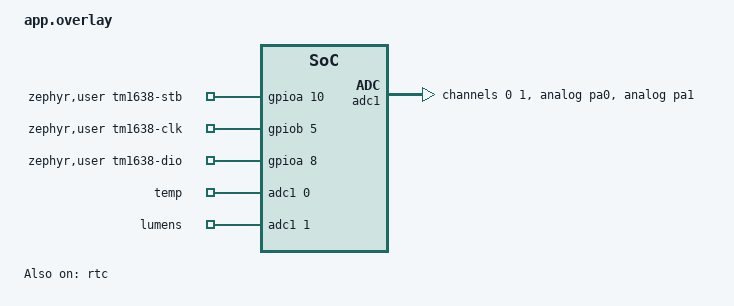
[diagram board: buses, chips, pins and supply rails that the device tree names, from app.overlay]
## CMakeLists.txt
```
# SPDX-License-Identifier: Apache-2.0

cmake_minimum_required(VERSION 3.20.0)

find_package(Zephyr REQUIRED HINTS $ENV{ZEPHYR_BASE})
project(templum1638)

target_sources(app PRIVATE
    src/main.c
    src/tm1638.c
)
target_include_directories(app PRIVATE src)
```

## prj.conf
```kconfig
# Added automatically by Workbench for Zephyr
#--- DEBUG PRESET - BEGIN ---#
# Set to -Og
CONFIG_DEBUG_OPTIMIZATIONS=y
# Thread awareness support
CONFIG_DEBUG_THREAD_INFO=y
# Generate stack usage per-function
CONFIG_STACK_USAGE=y
# Other options in case not set by default
CONFIG_BUILD_OUTPUT_HEX=y
CONFIG_BUILD_OUTPUT_META=y
CONFIG_OUTPUT_SYMBOLS=y
CONFIG_OUTPUT_STAT=y
CONFIG_OUTPUT_DISASSEMBLY=y
CONFIG_OUTPUT_PRINT_MEMORY_USAGE=y
#--- DEBUG PRESET - END ---#
CONFIG_GPIO=y
CONFIG_PRINTK=y
CONFIG_ADC=y
CONFIG_ADC_ASYNC=y
CONFIG_LOG=y
CONFIG_RTC=y
```

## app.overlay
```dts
#include <zephyr/dt-bindings/gpio/gpio.h>
#include <zephyr/dt-bindings/adc/adc.h>
/*
 * Patron "zephyr,user": forma estandar de Zephyr para pasarle GPIOs
 * sueltos a la aplicacion sin necesidad de escribir un devicetree
 * binding ni un driver formal.
 *
 * Al llamarse "app.overlay" y estar en la raiz del proyecto (no dentro
 * de boards/), Zephyr lo aplica automaticamente sin importar la placa
 * para la que compiles -- no hace falta pasar -DDTC_OVERLAY_FILE ni
 * tocar el CMakeLists.txt.
 *
 * Pines elegidos sobre el header estilo Arduino del Nucleo-F401RE
 * (libres por defecto, no pisan UART2/I2C1 que ya usa la placa):
 *   D2 -> STB   (PA10)
 *   D4 -> CLK   (PB5)
 *   D7 -> DIO   (PA8)
 * Para usar otros pines fisicos, solo hay que cambiar los numeros de
 * &arduino_header aqui abajo -- el resto del proyecto no cambia.
 */
/ {
	zephyr,user {
		tm1638-stb-gpios = <&gpioa 10 GPIO_ACTIVE_HIGH>;
		tm1638-clk-gpios = <&gpiob 5 GPIO_ACTIVE_HIGH>;
		tm1638-dio-gpios = <&gpioa 8 GPIO_ACTIVE_HIGH>;

		io-channels = <&adc1 0>, <&adc1 1>;
		io-channel-names = "temp", "lumens";
	};
};

/* DEVICETREE-MANAGER-BEGIN: generated region, do not edit inside this block */
&adc1 {
	#address-cells = <1>;
	#size-cells = <0>;
    	pinctrl-names = "default";
    	pinctrl-0 = <&analog_pa0 &analog_pa1>;
    	status = "okay";
	channel@0{
		reg = <0>;
		zephyr,gain = "ADC_GAIN_1";
		zephyr,reference = "ADC_REF_INTERNAL";
		zephyr,vref-mv = <3300>;
		zephyr,acquisition-time = <ADC_ACQ_TIME_DEFAULT>;
		zephyr,resolution = <12>;
	};
	channel@1{
		reg = <1>;
		zephyr,gain = "ADC_GAIN_1";
		zephyr,reference = "ADC_REF_INTERNAL";
		zephyr,vref-mv = <3300>;
		zephyr,acquisition-time = <ADC_ACQ_TIME_DEFAULT>;
		zephyr,resolution = <12>;
	};


};
/* DEVICETREE-MANAGER-END */
&rtc {
	status="okay";
};
```

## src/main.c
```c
/*
 * Copyright (c) 2012-2014 Wind River Systems, Inc.
 *
 * SPDX-License-Identifier: Apache-2.0
 */

#include <zephyr/kernel.h>
#include <zephyr/drivers/gpio.h>
#include <zephyr/drivers/rtc.h>
#include <zephyr/sys/printk.h>
#include <zephyr/devicetree.h>
#include <zephyr/drivers/adc.h>
#include <zephyr/sys/util.h>
#include <zephyr/device.h>
#include <zephyr/logging/log.h>
#include "tm1638.h"	
#include <stdlib.h>
#include <math.h>

LOG_MODULE_REGISTER(sensores, LOG_LEVEL_DBG);

static const struct gpio_dt_spec stb_pin =
	GPIO_DT_SPEC_GET(DT_PATH(zephyr_user), tm1638_stb_gpios);
static const struct gpio_dt_spec clk_pin =
	GPIO_DT_SPEC_GET(DT_PATH(zephyr_user), tm1638_clk_gpios);
static const struct gpio_dt_spec dio_pin =
	GPIO_DT_SPEC_GET(DT_PATH(zephyr_user), tm1638_dio_gpios);

static const struct adc_dt_spec tem =
	ADC_DT_SPEC_GET_BY_NAME(DT_PATH(zephyr_user), temp);

static const struct adc_dt_spec lum =
	ADC_DT_SPEC_GET_BY_NAME(DT_PATH(zephyr_user), lumens);

#define RTC_NODE DT_NODELABEL(rtc)

#define STACK_SIZE 512

#define PRIORITY_MAIN 1
#define PRIORITY_READ_ADC 4
#define PRIORITY_PROM_ADC 4
#define PRIORITY_DISPLAY 3
#define PRIORITY_HORA 2
#define PRIORITY_READ_TM1638 5

K_MUTEX_DEFINE(hw_access);

K_SEM_DEFINE(botread, 0,1);
K_SEM_DEFINE(display,0,1);
K_SEM_DEFINE(rawr,0,1);
K_SEM_DEFINE(finer,0,1);
K_SEM_DEFINE(rlums,0,1);
K_SEM_DEFINE(rtemp,0,1);
K_SEM_DEFINE(conv,0,1);
K_SEM_DEFINE(hora,0,1);

K_SEM_DEFINE(stopbot, 0,1);
K_SEM_DEFINE(stoprawr,0,1);
K_SEM_DEFINE(stopdis, 0,1);
K_SEM_DEFINE(stoptemp,0,1);
K_SEM_DEFINE(stoplums,0,1);
K_SEM_DEFINE(stopconv,0,1);
K_SEM_DEFINE(horastop,0,1);

struct lectura_fina {
	uint16_t voltem;
	uint16_t vollum;
	struct rtc_time horaa;
};

struct lectura_raw {
	uint16_t volte;
	uint16_t vollu;
};

K_MSGQ_DEFINE(hora_act, sizeof(struct rtc_time),1 , 1);
K_MSGQ_DEFINE(lec_raw , sizeof(struct lectura_raw),10, 1);
K_MSGQ_DEFINE(lec_fin , sizeof(struct lectura_fina), 1, 1);
K_MSGQ_DEFINE(lec_disp, sizeof(int), 1, 1);

static const struct device *rtc = DEVICE_DT_GET(RTC_NODE);


void mainloop(void){
	int rec;
	if (!device_is_ready(tem.dev)){
		LOG_WRN("ADC no esta listo");
	}
	rec = adc_channel_setup_dt(&tem);
	if (rec!=0){
		LOG_WRN("ADC no se pudo configurar");
	}
	if (!device_is_ready(lum.dev)){
		LOG_WRN("ADC no esta listo");
	}
	rec = adc_channel_setup_dt(&lum);
	if (rec!=0){
		LOG_WRN("ADC no se pudo configurar");
	}

	k_sem_give(&rawr);

	k_mutex_lock(&hw_access, K_FOREVER);
	rec = tm1638_init(stb_pin, clk_pin, dio_pin);
	k_mutex_unlock(&hw_access);
	if(rec!=0){
		LOG_WRN("error al iniciar el tm1638 rec = %d\n", rec);
	}
	k_mutex_lock(&hw_access, K_FOREVER);
	tm1638_set_brightness(7);
	tm1638_clear();
	tm1638_set_digit(0, 0x73); //P o 0xce
	tm1638_set_digit(1, 0x77); //R o 0xee
	tm1638_set_digit(2, 0x79); //E o 0x9e
	tm1638_set_digit(3, 0x6D); //S o 0xb6
	tm1638_set_digit(4, 0xED); //S. o oxb7
	k_mutex_unlock(&hw_access);
	k_sem_give(&botread);
	k_sleep(K_FOREVER);
}

void leer_botones(void){
	int last_button = 0, boton;

	while(1){

		k_sem_take(&botread ,K_FOREVER);

		
		while (1) {

			if(k_sem_take(&stopbot, K_NO_WAIT)==0) break;

			k_mutex_lock(&hw_access, K_FOREVER);
			boton = tm1638_get_button();
			k_mutex_unlock(&hw_access);
			/* Solo reaccionamos en el flanco de "recien presionado",
			* no en cada iteracion mientras se mantiene presionado.
			*/
			if (boton > 0 && boton != last_button) {
				switch (boton)
				{
				case 1:
					if(k_sem_take(&display, K_NO_WAIT)!=0) k_sem_give(&display);
					k_msgq_purge(&lec_disp);
					k_msgq_put(&lec_disp, &boton, K_NO_WAIT);
					k_msleep(50);
					break;
				case 2:
					if(k_sem_take(&display, K_NO_WAIT)!=0) k_sem_give(&display);
					k_msgq_purge(&lec_disp);
					k_msgq_put(&lec_disp, &boton, K_NO_WAIT);
					k_msleep(50);
					break;
				case 3:
					if(k_sem_take(&display, K_NO_WAIT)!=0) k_sem_give(&display);
					k_msgq_purge(&lec_disp);
					k_msgq_put(&lec_disp, &boton, K_NO_WAIT);
					k_msleep(50);
					break;
				default:
					break;
				}
			}
			last_button = boton;
		
			k_msleep(22);
		}
	}
}

void actualizar_hora(void){

	struct rtc_time time;
	
	if(!device_is_ready(rtc)){
		LOG_WRN("rtc no esta listo");
	}

	time.tm_year = 2026;
	time.tm_mon = 8;
	time.tm_mday = 31;
	time.tm_hour = 18;
	time.tm_min = 0;
	time.tm_sec = 0;

	int ret = rtc_set_time(rtc, &time);

	if (ret != 0){
		LOG_WRN("error al iniciar rtc");
	}

	while(1){
		ret = rtc_get_time(rtc, &time);
		if (ret != 0){
			LOG_WRN("error al leer hora");
		}
		k_msgq_purge(&hora_act);
		k_msgq_put(&hora_act, &time, K_NO_WAIT);
		LOG_DBG("%d/%d/%d %d:%d:%d", time.tm_mday, time.tm_mon, time.tm_year, time.tm_hour, time.tm_min, time.tm_sec);
		k_msleep(1000);
	}
}

void lectura_adc(void){
	uint16_t rawtemp, rawlum, rawtempant = 0, rawlumant = 0;

	float a = 0.1;

	int ret;

	struct lectura_raw lect;
	
	struct adc_sequence temperatura = {
		.buffer =&rawtemp,
		.buffer_size = sizeof(rawtemp)
	}, lumens ={
		.buffer = &rawlum,
		.buffer_size = sizeof(rawlum)
	};
	while (1){

		k_sem_take(&rawr, K_FOREVER);

		while(1){

			if (k_sem_take(&stoprawr, K_NO_WAIT)==0) break;
			ret = adc_sequence_init_dt(&tem, &temperatura);
			if (ret!=0){
				LOG_WRN("error al iniciar secuencia");
				break;
			}
			ret = adc_read(tem.dev, &temperatura);
			if (ret!=0){
				LOG_WRN("no se pudo leer adc0 %d", ret);
			}
			ret = adc_sequence_init_dt(&lum, &lumens);
			if (ret!=0){
				LOG_WRN("error al iniciar secuencia");
				break;
			}
			ret = adc_read(lum.dev, &lumens);
			if (ret!=0){
				LOG_WRN("no se pudo leer adc0 %d", ret);
			}

			lect.vollu = (a*rawlum)+((1-a)*rawlumant);
			lect.volte = (a*rawtemp)+ ((1-a)*rawtempant);
			rawtempant = lect.volte;
			rawlumant = lect.vollu;

			if (k_msgq_put(&lec_raw, &lect, K_NO_WAIT) != 0){
				LOG_DBG("cola llena enviando datos");
				k_sem_give(&conv);
				k_sem_give(&stoprawr);
			}

			k_msleep(50);
		}
	}
}

void prom_adc(void){
	uint16_t tempe [10], lume [10];
	uint16_t tempe_prom, lume_prom, tempe_ant = 0, lume_ant = 0;
	struct lectura_raw lera;
	struct lectura_fina fin;
	float a = 0.1;
	while (1){
		k_sem_take(&conv, K_FOREVER);
		while (1){
			 
			if (k_sem_take(&stopconv, K_NO_WAIT)==0) break;

			for (int i = 0; i < 10; i++){
				k_msgq_get(&lec_raw, &lera, K_NO_WAIT);
				tempe[i] = lera.volte;
				lume[i] = lera.vollu;
			}
			LOG_DBG("promediando lecturas");
			k_sem_give(&rawr);
			tempe_prom = 0;
			lume_prom = 0;
			for (int i = 0; i < 10; i++){
				tempe_prom += tempe[i];
				lume_prom += lume[i];
			}

			tempe_prom = (tempe_prom/10);
			lume_prom =lume_prom/10;
			tempe_ant = tempe_prom;
			lume_ant = lume_prom;

			fin.voltem = tempe_prom;
			fin.vollum = lume_prom;

			LOG_DBG("temp: %d lum: %d", fin.voltem, fin.vollum);

			k_msgq_peek(&hora_act, &fin.horaa);

			k_msgq_purge(&lec_fin);
			k_msgq_put(&lec_fin, &fin, K_NO_WAIT);

			k_sem_give(&stopconv);
		}
	}	
}

uint16_t convlum (int16_t raw){
	int res = 0, a = 22650;
	float exp;
	uint16_t lux = 0;
	res = (100*raw)/(4095-raw);
	exp = 0.470576029;
	lux = (uint16_t) (pow((a/res), (1/exp)));
	return lux;
}

uint16_t convtemp (int16_t raw){
	float a = 36.92, b = -1;
	uint16_t final =(uint16_t)((raw/a)+b);
	return final;
}

void display_task(void){
	struct lectura_fina lect;
	int var=0;
	int boton;
	while(1){
		k_sem_take(&display, K_FOREVER);
		while(1){

			if (k_sem_take(&stopdis, K_NO_WAIT)==0) break;

			k_msgq_peek(&lec_disp, &boton);
			
			k_msgq_peek(&lec_fin, &lect);

			switch (boton)
			{
			case 1:
				var = convtemp(lect.voltem);
				break;
			case 2:
				var = convlum(lect.vollum);
				break;
			case 3:
				var = lect.horaa.tm_hour*10000 + lect.horaa.tm_min*100 + lect.horaa.tm_sec;
				break;
			default:
				break;
			}

			k_mutex_lock(&hw_access, K_FOREVER);
			tm1638_clear();
			tm1638_display(var);
			k_mutex_unlock(&hw_access);

			LOG_INF("mostrando en display: %d\n", var);

			k_msleep(1000);

		}	
	}
}

K_THREAD_DEFINE (main_id, STACK_SIZE, mainloop, NULL, NULL, NULL,
	PRIORITY_MAIN, 0, 0);
K_THREAD_DEFINE (botones_id, STACK_SIZE, leer_botones, NULL, NULL, NULL,
	PRIORITY_READ_TM1638, 0, 0);
K_THREAD_DEFINE (hora_id, STACK_SIZE, actualizar_hora, NULL, NULL, NULL,
	PRIORITY_HORA, 0, 0);
K_THREAD_DEFINE (adc_id, STACK_SIZE, lectura_adc, NULL, NULL, NULL,
	PRIORITY_READ_ADC, 0, 0);
K_THREAD_DEFINE (prom_id, STACK_SIZE, prom_adc, NULL, NULL, NULL,
	PRIORITY_PROM_ADC, 0, 0);
K_THREAD_DEFINE (display_id, STACK_SIZE, display_task, NULL, NULL, NULL,
	PRIORITY_DISPLAY, 0, 0);
```

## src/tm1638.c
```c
#include "tm1638.h"
#include <zephyr/kernel.h>
#include <stdbool.h>
#include <errno.h>
#include <zephyr/sys/printk.h>

#define TM1638_DEBOUNCE_MS 30
#define TM1638_MAX_VALUE   99999999

/*
 * --- Protocolo del TM1638 (resumen) ---
 *
 * 3 lineas:
 *   STB  chip select. En reposo esta en alto; se pone en bajo mientras
 *        dura una transaccion (uno o mas bytes) y vuelve a alto al
 *        terminarla.
 *   CLK  reloj generado por nosotros (el maestro). En reposo alto.
 *   DIO  datos, BIDIRECCIONAL: nosotros la manejamos como salida para
 *        escribir comandos/datos, y la reconfiguramos como entrada
 *        solo durante los 4 bytes que el TM1638 responde al leer el
 *        teclado (ver scan_keys_raw). Por eso cada funcion de bajo
 *        nivel reconfigura gpio_pin_configure_dt(&tm.dio, ...) segun
 *        si va a transmitir o a recibir.
 *
 * Cada byte va LSB primero; DIO cambia con CLK en bajo y se
 * muestrea/valida con CLK en alto (igual que un SPI modo 0 casero).
 *
 * Comandos que usa esta libreria (primer byte de cada transaccion, con
 * STB en bajo mientras dura):
 *   0x44        Modo de escritura con direccion fija: el siguiente
 *               byte fija la direccion (0xC0|addr) y el que sigue a
 *               ese es el dato para esa direccion. Se usa para poder
 *               escribir un solo digito/LED sin tocar el resto.
 *   0xC0 | addr Fija la direccion (0-15) de la memoria de display para
 *               el byte de datos que sigue.
 *   0x80 | n    Control de pantalla: bit3 = encendida (1) / apagada
 *               (0), bits 0-2 = brillo (0-7).
 *   0x42        Inicia lectura del teclado: tras enviar este byte con
 *               STB en bajo, el maestro pone DIO en entrada y hace 4
 *               pulsos de reloj mas para leer 4 bytes de vuelta.
 *
 * La memoria de display tiene 16 direcciones (0x0-0xF). En los modulos
 * "LED&KEY" (el mas comun: 8 digitos + 8 LEDs + 8 botones en fila),
 * cada digito i vive en la direccion par i*2 y su LED asociado en la
 * direccion impar i*2+1.
 */

struct tm1638_state {
	struct gpio_dt_spec stb;
	struct gpio_dt_spec clk;
	struct gpio_dt_spec dio;
	bool initialized;

	/* Antirrebote de botones (ver tm1638_get_button). */
	uint8_t keys_raw_prev;
	uint8_t keys_stable;
	int64_t keys_change_ts;
};

static struct tm1638_state tm;

/* Segmentos a-g para digitos 0-9, usados por tm1638_display(). */
static const uint8_t digit_font[10] = {
	0x3F, 0x06, 0x5B, 0x4F, 0x66,
	0x6D, 0x7D, 0x07, 0x7F, 0x6F,
};

static void send_byte(uint8_t b)
{
	gpio_pin_configure_dt(&tm.dio, GPIO_OUTPUT);

	for (int i = 0; i < 8; i++) {
		gpio_pin_set_dt(&tm.clk, 0);
		gpio_pin_set_dt(&tm.dio, (b >> i) & 0x01);
		k_busy_wait(1);
		gpio_pin_set_dt(&tm.clk, 1);
		k_busy_wait(1);
	}
}

static uint8_t recv_byte(void)
{
	uint8_t b = 0;

	gpio_pin_configure_dt(&tm.dio, GPIO_INPUT);

	for (int i = 0; i < 8; i++) {
		gpio_pin_set_dt(&tm.clk, 0);
		k_busy_wait(1);
		if (gpio_pin_get_dt(&tm.dio)) {
			b |= (1 << i);
		}
		gpio_pin_set_dt(&tm.clk, 1);
		k_busy_wait(1);
	}
	return b;
}

/* Escribe un byte en una direccion fija (0-15) de la memoria de display. */
static void write_at(uint8_t addr, uint8_t data)
{
	gpio_pin_set_dt(&tm.stb, 0);
	send_byte(0x44);
	gpio_pin_set_dt(&tm.stb, 1);
	k_busy_wait(1);

	gpio_pin_set_dt(&tm.stb, 0);
	send_byte(0xC0 | (addr & 0x0F));
	send_byte(data);
	gpio_pin_set_dt(&tm.stb, 1);

	/*
	 * Pequeno margen tras cada transaccion. No es requisito del
	 * protocolo (el TM1638 no lo necesita para funcionar), pero
	 * clear()/clear_digits()/clear_leds()/display() llaman a esta
	 * funcion hasta 16 veces seguidas sin ninguna pausa -- eso
	 * concentra muchas conmutaciones de segmentos/LEDs (y su consumo
	 * de corriente asociado) en una ventana muy corta. Si la
	 * alimentacion del modulo esta al limite, espaciar un poco las
	 * escrituras reduce la probabilidad de que esos picos se sumen.
	 * No sustituye revisar VCC/GND si el problema persiste.
	 */
	k_busy_wait(50);
}

/* Lee el estado crudo (sin antirrebote) de los 8 botones. */
static uint8_t scan_keys_raw(void)
{
	uint8_t keys = 0;
	uint8_t buf[4];

	gpio_pin_set_dt(&tm.stb, 0);
	send_byte(0x42);
	for (int i = 0; i < 4; i++) {
		buf[i] = recv_byte();
	}
	gpio_pin_set_dt(&tm.stb, 1);
	gpio_pin_configure_dt(&tm.dio, GPIO_OUTPUT);

	/*
	 * Agrupacion real de este modulo (verificada empiricamente):
	 * buf[i] bit0 -> boton (i+1)  [botones 1-4]
	 * buf[i] bit4 -> boton (i+5)  [botones 5-8]
	 * (no es buf[i] bit0/bit4 -> botones (2i+1)/(2i+2) como en la
	 * version anterior -- esa agrupacion daba impares/pares cruzados).
	 */
	for (int i = 0; i < 4; i++) {
		if (buf[i] & 0x01) {
			keys |= (1 << i);
		}
		if (buf[i] & 0x10) {
			keys |= (1 << (i + 4));
		}
	}
	return keys;
}

int tm1638_init(struct gpio_dt_spec stb, struct gpio_dt_spec clk, struct gpio_dt_spec dio)
{
	int ret;

	tm.stb = stb;
	tm.clk = clk;
	tm.dio = dio;
	tm.initialized = false;
	tm.keys_raw_prev = 0;
	tm.keys_stable = 0;
	tm.keys_change_ts = k_uptime_get();

	if (!gpio_is_ready_dt(&tm.stb) || !gpio_is_ready_dt(&tm.clk) ||
	    !gpio_is_ready_dt(&tm.dio)) {
		return -ENODEV;
	}
	printk("A\n");
	ret = gpio_pin_configure_dt(&tm.stb, GPIO_OUTPUT_ACTIVE);
	printk("B\n");
	ret |= gpio_pin_configure_dt(&tm.clk, GPIO_OUTPUT_ACTIVE);
	printk("C\n");
	ret |= gpio_pin_configure_dt(&tm.dio, GPIO_OUTPUT_ACTIVE);
	printk("D\n");
	if (ret) {
		return -EIO;
	}

	tm.initialized = true;

	tm1638_clear();
	printk("E\n");
	tm1638_set_brightness(4);
	return 0;
}

int tm1638_set_brightness(uint8_t level)
{
	if (!tm.initialized) {
		return -EIO;
	}
	if (level > 7) {
		return -EINVAL;
	}

	gpio_pin_set_dt(&tm.stb, 0);
	send_byte(0x88 | level); /* bit3=1 -> pantalla encendida */
	gpio_pin_set_dt(&tm.stb, 1);
	return 0;
}

int tm1638_set_digit(int digit, uint8_t segments)
{
	if (!tm.initialized) {
		return -EIO;
	}
	if (digit < 0 || digit > 7) {
		return -EINVAL;
	}

	write_at((uint8_t)digit * 2, segments);
	return 0;
}

int tm1638_display(int value)
{
	if (!tm.initialized) {
		return -EIO;
	}

	if (value < 0 || value > TM1638_MAX_VALUE) {
		/* No representable en 8 digitos: se deja claro con
		 * guiones en vez de fallar en silencio.
		 */
		for (int pos = 0; pos < 8; pos++) {
			tm1638_set_digit(pos, 0x40);
		}
		return -EINVAL;
	}

	tm1638_clear_digits();

	int pos = 7;
	uint32_t v = (uint32_t)value;

	do {
		tm1638_set_digit(pos, digit_font[v % 10]);
		v /= 10;
		pos--;
	} while (v > 0 && pos >= 0);

	return 0;
}

int tm1638_clear(void)
{
	if (!tm.initialized) {
		return -EIO;
	}
	for (uint8_t addr = 0; addr < 16; addr++) {
		write_at(addr, 0x00);
	}
	return 0;
}

int tm1638_clear_digits(void)
{
	if (!tm.initialized) {
		return -EIO;
	}
	for (uint8_t pos = 0; pos < 8; pos++) {
		write_at(pos * 2, 0x00);
	}
	return 0;
}

int tm1638_clear_leds(void)
{
	if (!tm.initialized) {
		return -EIO;
	}
	for (uint8_t pos = 0; pos < 8; pos++) {
		write_at(pos * 2 + 1, 0x00);
	}
	return 0;
}

int tm1638_set_led(int led, int state)
{
	if (!tm.initialized) {
		return -EIO;
	}
	if (led < 0 || led > 7) {
		return -EINVAL;
	}
	if (state != 0 && state != 1) {
		return -EINVAL;
	}

	write_at((uint8_t)led * 2 + 1, state ? 0x01 : 0x00);
	return 0;
}

int tm1638_get_button(void)
{
	if (!tm.initialized) {
		return -EIO;
	}

	uint8_t raw = scan_keys_raw();
	int64_t now = k_uptime_get();

	if (raw != tm.keys_raw_prev) {
		/* Cambio detectado: reinicia el temporizador de estabilidad.
		 * Todavia NO se acepta como valido -- podria ser rebote.
		 */
		tm.keys_raw_prev = raw;
		tm.keys_change_ts = now;
	} else if ((now - tm.keys_change_ts) >= TM1638_DEBOUNCE_MS) {
		/* El estado crudo lleva sin cambiar >= TM1638_DEBOUNCE_MS:
		 * ahora si se acepta como el estado "estable" real.
		 */
		tm.keys_stable = raw;
	}

	if (tm.keys_stable == 0) {
		return 0;
	}

	/* Varios botones a la vez: se prioriza el de menor numero. */
	for (int i = 0; i < 8; i++) {
		if (tm.keys_stable & BIT(i)) {
			return i + 1;
		}
	}

	return 0;
}
```
